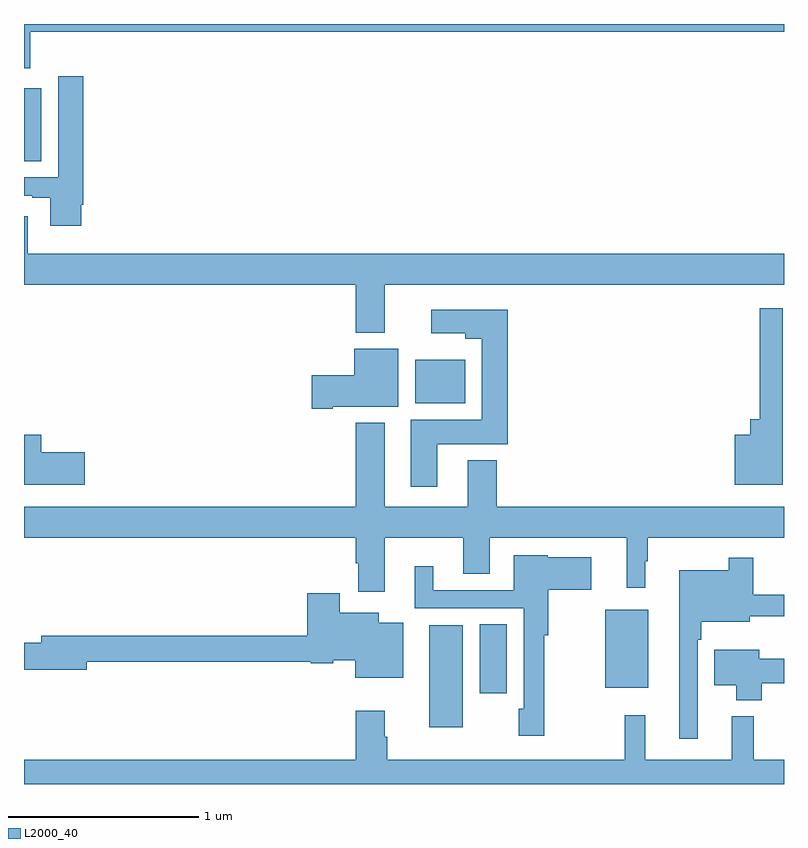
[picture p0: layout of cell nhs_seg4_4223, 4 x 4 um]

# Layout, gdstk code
import gdstk
lib = gdstk.Library(unit=1e-6, precision=1e-09)
def R(c, l, rs):  # rectangles x0, y0, x1, y1
    for r in rs: c.add(gdstk.rectangle(r[:2], r[2:], *l))
def P(c, l, *ps):  # polygons
    for p in ps: c.add(gdstk.Polygon(p, *l))
L2000_40 = (2000, 40)

nhs_seg4_4223 = lib.new_cell('nhs_seg4_4223')
R(nhs_seg4_4223, L2000_40, [(339.134,753.2,339.31,753.736), (339.398,753.378,339.541,753.74), (340.058,753.407,340.285,753.817), (339.059,754.904,339.322,755.134), (337,756.178,337.09,756.562)])
P(nhs_seg4_4223, L2000_40, [(337.034,756.86),(341,756.86),(341,756.9),(337,756.9),(337,756.666),(337.034,756.666)],
  [(337.3,755.95),(337.313,755.95),(337.313,756.625),(337.181,756.625),(337.181,756.093),(337,756.093),(337,755.997),(337.043,755.997),(337.043,755.985),(337.139,755.985),(337.139,755.838),(337.3,755.838)],
  [(338.899,755.528),(341,755.528),(341,755.692),(337.021,755.692),(337.021,755.887),(337,755.887),(337,755.528),(338.747,755.528),(338.747,755.276),(338.899,755.276)],
  [(340.993,755.404),(340.872,755.404),(340.872,754.819),(340.823,754.819),(340.823,754.738),(340.742,754.738),(340.742,754.475),(340.993,754.475)],
  [(339.175,754.688),(339.545,754.688),(339.545,755.395),(339.144,755.395),(339.144,755.273),(339.323,755.273),(339.323,755.243),(339.41,755.243),(339.41,754.816),(339.035,754.816),(339.035,754.464),(339.175,754.464)],
  [(338.626,754.886),(338.971,754.886),(338.971,755.191),(338.738,755.191),(338.738,755.052),(338.514,755.052),(338.514,754.874),(338.626,754.874)],
  [(338.899,754.196),(339.311,754.196),(339.311,754.006),(339.451,754.006),(339.451,754.196),(340.172,754.196),(340.172,753.933),(340.27,753.933),(340.27,754.073),(340.282,754.073),(340.282,754.196),(341,754.196),(341,754.36),(339.488,754.36),(339.488,754.603),(339.335,754.603),(339.335,754.36),(338.899,754.36),(338.899,754.801),(338.747,754.801),(338.747,754.36),(337,754.36),(337,754.196),(338.747,754.196),(338.747,754.062),(338.759,754.062),(338.759,753.912),(338.899,753.912)],
  [(337.321,754.646),(337.09,754.646),(337.09,754.738),(337,754.738),(337,754.475),(337.321,754.475)],
  [(339.739,753.683),(339.76,753.683),(339.76,753.923),(339.985,753.923),(339.985,754.093),(339.756,754.093),(339.756,754.105),(339.578,754.105),(339.578,753.921),(339.154,753.921),(339.154,754.045),(339.056,754.045),(339.056,753.825),(339.63,753.825),(339.63,753.297),(339.604,753.297),(339.604,753.153),(339.739,753.153)],
  [(340.545,753.659),(340.565,753.659),(340.565,753.755),(340.819,753.755),(340.819,753.784),(341,753.784),(341,753.895),(340.838,753.895),(340.838,754.09),(340.71,754.09),(340.71,754.024),(340.448,754.024),(340.448,753.138),(340.545,753.138)],
  [(338.995,753.748),(338.866,753.748),(338.866,753.802),(338.662,753.802),(338.662,753.904),(338.492,753.904),(338.492,753.68),(337.091,753.68),(337.091,753.644),(337,753.644),(337,753.502),(337.33,753.502),(337.33,753.544),(338.508,753.544),(338.508,753.536),(338.628,753.536),(338.628,753.551),(338.744,753.551),(338.744,753.458),(338.995,753.458)],
  [(340.883,753.43),(341,753.43),(341,753.559),(340.87,753.559),(340.87,753.607),(340.634,753.607),(340.634,753.419),(340.748,753.419),(340.748,753.341),(340.883,753.341)],
  [(341,753.028),(340.841,753.028),(340.841,753.256),(340.724,753.256),(340.724,753.028),(340.271,753.028),(340.271,753.262),(340.161,753.262),(340.161,753.028),(338.912,753.028),(338.912,753.149),(338.899,753.149),(338.899,753.286),(338.747,753.286),(338.747,753.028),(337,753.028),(337,752.9),(341,752.9)])

lib.write_gds('nhs_seg4_4223.gds')
